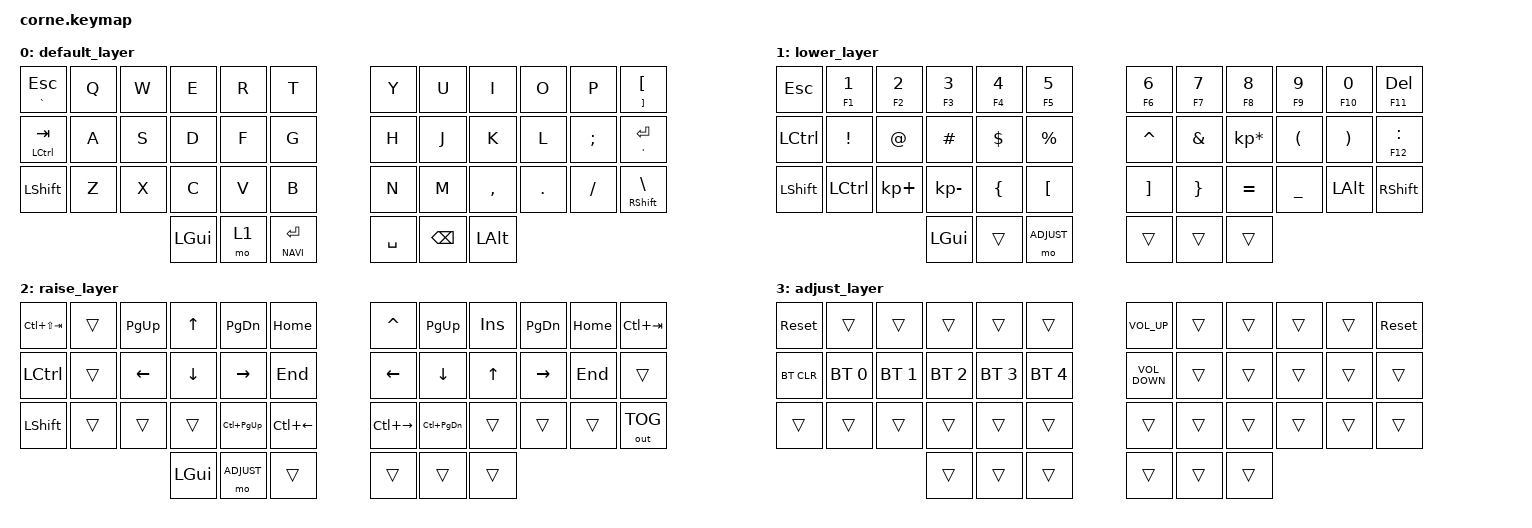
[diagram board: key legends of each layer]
/*
 * Copyright (c) 2020 The ZMK Contributors
 *
 * SPDX-License-Identifier: MIT
 * To use home rows - &hm LSHFT F
 *
 * RUSMODE: Спецсимволы работают одинаково на US и RU раскладках.
 * Реализовано архитектурой самой раскладки:
 *
 * Layer 0: Символы на выделенных клавишах (. , ; ' [ ] / \)
 *          ZMK отправляет keycodes напрямую, не зависят от раскладки.
 *
 * Layer 1: Символы ! @ # $ % ^ & * ( ) отправляются как keycodes
 *          (EXCL, AT, HASH...), а НЕ как Shift+цифра.
 *          Поэтому в RU раскладке они остаются ! @ # $ %, а не "! и т.д.
 *
 * Системная настройка: kb_layout=us,ru в Hyprland (modules/home/hyprland/hyprland.nix)
 * Переключение раскладок: Win+Space (grp:win_space_toggle)
 */

#include <behaviors.dtsi>
#include <dt-bindings/zmk/bt.h>
#include <dt-bindings/zmk/keys.h>
#include <dt-bindings/zmk/outputs.h>

#define QWERTY 0
#define NUMB 1
#define NAVI 2
#define ADJUST 3

/ {
    behaviors {
        hm: homerow_mods {
            compatible = "zmk,behavior-hold-tap";
            label = "HOMEROW_MODS";
            #binding-cells = <2>;
            tapping-term-ms = <150>;
            quick_tap_ms = <0>;
            flavor = "tap-preferred";
            bindings = <&kp>, <&kp>;
        };
    };

    keymap {
        compatible = "zmk,keymap";

        default_layer {
            // .--------------------------------------------------------------.       .-----------------------------------------------------------.
            // |    ~/ESC     |    Q    |    W   |   E    |    R    |    T    |       |   Y   |    U    |    I    |    O    |     P    |  [ / ]   |
            // |--------------+---------+--------+--------+---------+---------|       |-------+---------+---------+---------+----------+----------|
            // |   CAPS/Tab   |    A    |    S   |   D    |    F    |    G    |       |   H   |    J    |    K    |    L    |     ;    |  '/ENT   |
            // |--------------+---------+--------+--------+---------+---------|       |-------+---------+---------+---------+----------+----------|
            // |   SHFT       |    Z    |    X   |   C    |    V    |    B    |       |   N   |    M    |    ,    |    .    |     /    | SHFT | \ |
            // '---------------------------------+--------+---------+---------+       |-------+---------+---------+-------------------------------'
            //                                   |  GUI   |   MO1   |   ENT   |       |  SPC  |   BKS   |   ALT   |
            //                                   '--------+---------+---------'       '-------+---------+---------'				

            bindings = <
&mt GRAVE ESC     &kp Q  &kp W  &kp E     &kp R  &kp T           &kp Y      &kp U     &kp I      &kp O    &kp P     &mt RBKT LBKT
&mt LCTRL TAB     &kp A  &kp S  &kp D     &kp F  &kp G           &kp H      &kp J     &kp K      &kp L    &kp SEMI  &mt SQT RET
&kp LSHFT         &kp Z  &kp X  &kp C     &kp V  &kp B           &kp N      &kp M     &kp COMMA  &kp DOT  &kp FSLH  &mt RSHFT BACKSLASH
                                &kp LGUI  &mo 1  &lt NAVI RET    &kp SPACE  &kp BSPC  &kp LALT
            >;
        };

        lower_layer {
            // .--------------------------------------------------------------.       .-----------------------------------------------------------.
            // |     ESC      |  1/F1   | 2/F2   |  3/F3  |  4/F4   |  5/F5   |       | 6/F6  |  7/F7   |  8/F8   |  9/F9   |   0/F10  |  DEL/F11 |
            // |--------------+---------+--------+--------+---------+---------|       |-------+---------+---------+---------+----------+----------|
            // |     CTRL     |    !    |    @   |   #    |    $    |    %    |       |   ^   |    &    |    *    |    (    |     )    |   :/F12  |
            // |--------------+---------+--------+--------+---------+---------|       |-------+---------+---------+---------+----------+----------|
            // |     SHFT     |   CTRL  |    +   |   -    |    {    |    [    |       |   ]   |    }    |    =    |    _    |   ALT    |   SHFT   |
            // '---------------------------------+--------+---------+---------+       |-------+---------+---------+-------------------------------'
            //                                   |  GUI   |         |   MO3   |       |       |         |         |
            //                                   '--------+---------+---------'       '-------+---------+---------'

            bindings = <
&kp ESC    &mt F1 N1  &mt F2 N2    &mt F3 N3     &mt F4 N4       &mt F5 N5           &mt F6 N6          &mt F7 N7        &mt F8 N8        &mt F9 N9       &mt F10 N0  &mt F11 DEL
&kp LCTRL  &kp EXCL   &kp AT       &kp HASH      &kp DLLR        &kp PRCNT           &kp CARET          &kp AMPS         &kp KP_MULTIPLY  &kp LPAR        &kp RPAR    &mt F12 COLON
&kp LSHFT  &kp LCTRL  &kp KP_PLUS  &kp KP_MINUS  &kp LEFT_BRACE  &kp LEFT_BRACKET    &kp RIGHT_BRACKET  &kp RIGHT_BRACE  &kp EQUAL        &kp UNDERSCORE  &kp LALT    &kp RSHFT
                                   &kp LGUI      &trans          &mo ADJUST          &trans             &trans           &trans
            >;
        };

        raise_layer {
            // .----------------------------------------------------------------.       .-----------------------------------------------------------------.
            // | CTRL+SHIFT+TAB |       |   PU   |   UP   |    PD    |   HOME   |       |  HOME    |    PU    |    UP   |   PD    |          |  CTRL+TAB   |
            // |----------------+-------+--------+--------+----------+----------|       |----------+----------+---------+---------+----------+-------------|
            // |     CTRL       |       |  LEFT  |  DOWN  |   RIGHT  |   END    |       |  END     |   LEFT   |   DOWN  |  RIGHT  |          |             |
            // |----------------+-------+--------+--------+----------+----------|       |----------+----------+---------+---------+----------+-------------|
            // |     SHFT       |       |        |        |CTRL+PGUP |CTRL+LEFT |       |CTRL+RIGHT| CTRL+PGDW|         |         |          |   OUT_TOG   |
            // '---------------------------------+--------+----------+----------+       |----------+----------+---------+----------------------------------'
            //                                   |  GUI   |   MO3    |          |       |          |          |         |
            //                                   '--------+----------+----------'       '----------+----------+---------'

            bindings = <
&kp LC(LS(TAB))  &trans  &kp PAGE_UP     &kp UP_ARROW    &kp PAGE_DOWN    &kp HOME              &kp CARET            &kp PAGE_UP     &kp INSERT    &kp PAGE_DOWN    &kp HOME  &kp LC(TAB)
&kp LCTRL        &trans  &kp LEFT_ARROW  &kp DOWN_ARROW  &kp RIGHT_ARROW  &kp END               &kp LEFT_ARROW       &kp DOWN_ARROW  &kp UP_ARROW  &kp RIGHT_ARROW  &kp END   &trans
&kp LSHFT        &trans  &trans          &trans          &kp LC(PG_UP)    &kp LC(LEFT_ARROW)    &kp LC(RIGHT_ARROW)  &kp LC(PG_DN)   &trans        &trans           &trans    &out OUT_TOG
                                         &kp LGUI        &mo ADJUST       &trans                &trans               &trans          &trans
            >;
        };

        adjust_layer {
            // .--------------------------------------------------------.       .--------------------------------------------------------------.
            // |  RESET  |        |        |        |         |         |       |  VOL+  |        |         |         |          |    RESET    |
            // |---------+--------+--------+--------+---------+---------|       |--------+--------+---------+---------+----------+-------------|
            // |  BTCLR  |  BT1   |  BT2   |  BT3   |  BT4    |  BT5    |       |  VOL-  |        |         |         |          |             |
            // |---------+--------+--------+--------+---------+---------|       |--------+--------+---------+---------+----------+-------------|
            // |         |        |        |        |         |         |       |        |        |         |         |          |             |
            // '---------------------------+--------+---------+---------+       |--------+--------+---------+----------------------------------'
            //                             |        |         |         |       |        |        |         |
            //                             '--------+---------+---------'       '--------+--------+---------'

            bindings = <
&sys_reset  &trans        &trans        &trans        &trans        &trans          &kp C_VOLUME_UP    &trans  &trans  &trans  &trans  &sys_reset
&bt BT_CLR  &bt BT_SEL 0  &bt BT_SEL 1  &bt BT_SEL 2  &bt BT_SEL 3  &bt BT_SEL 4    &kp C_VOLUME_DOWN  &trans  &trans  &trans  &trans  &trans
&trans      &trans        &trans        &trans        &trans        &trans          &trans             &trans  &trans  &trans  &trans  &trans
                                        &trans        &trans        &trans          &trans             &trans  &trans
            >;
        };
    };
};
